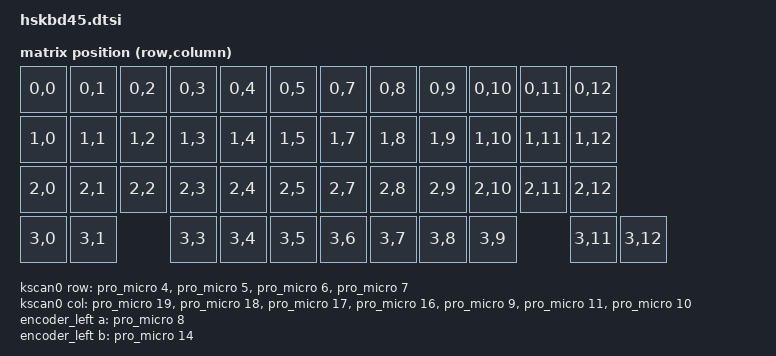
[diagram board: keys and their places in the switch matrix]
/*
 * HSKBD45 common shield configuration
 * Matrix: 4 rows x 7 cols (per half)
 * Diode direction: COL2ROW
 * Serial (TRRS): D0
 */

#include <dt-bindings/zmk/matrix_transform.h>

/ {
    chosen {
        zmk,kscan = &kscan0;
        zmk,matrix-transform = &default_transform;
    };

    /* 左半分のみ transform（右は col-offset で上書き） */
    default_transform: keymap_transform_0 {
        compatible = "zmk,matrix-transform";
        columns = <14>;
        rows = <4>;

        /*
         * レイアウト（左6列 + 右6列 = 12キー/行、最終行は親指キー）
         * QMK keyboard.json の layout に合わせた配置
         *
         * Left:  col 0-5  (matrix col 0-5)
         * Right: col 6-11 (matrix col 7-12 → offset 7)
         *
         * Row0: L[0,0] L[0,1] L[0,2] L[0,3] L[0,4] L[0,5]   R[4,0] R[4,1] R[4,2] R[4,3] R[4,4] R[4,5]
         * Row1: L[1,0] L[1,1] L[1,2] L[1,3] L[1,4] L[1,5]   R[5,0] R[5,1] R[5,2] R[5,3] R[5,4] R[5,5]
         * Row2: L[2,0] L[2,1] L[2,2] L[2,3] L[2,4] L[2,5]   R[6,0] R[6,1] R[6,2] R[6,3] R[6,4] R[6,5]
         * Row3: L[3,0] L[3,1] L[3,3] L[3,4] L[3,5] L[3,6]   R[7,0] R[7,1] R[7,2] R[7,4] R[7,5]
         *
         * ※ QMK では Row3 に col2 が欠け（エンコーダー位置）、右Row3 に col3 が欠け
         */
        map = <
            RC(0,0) RC(0,1) RC(0,2) RC(0,3) RC(0,4) RC(0,5)    RC(0,7) RC(0,8) RC(0,9) RC(0,10) RC(0,11) RC(0,12)
            RC(1,0) RC(1,1) RC(1,2) RC(1,3) RC(1,4) RC(1,5)    RC(1,7) RC(1,8) RC(1,9) RC(1,10) RC(1,11) RC(1,12)
            RC(2,0) RC(2,1) RC(2,2) RC(2,3) RC(2,4) RC(2,5)    RC(2,7) RC(2,8) RC(2,9) RC(2,10) RC(2,11) RC(2,12)
            RC(3,0) RC(3,1)         RC(3,3) RC(3,4) RC(3,5) RC(3,6)    RC(3,7) RC(3,8) RC(3,9)          RC(3,11) RC(3,12)
        >;
    };

    kscan0: kscan {
        compatible = "zmk,kscan-gpio-matrix";
        diode-direction = "col2row";

        col-gpios
            = <&pro_micro 19 GPIO_ACTIVE_HIGH>  /* F4 */
            , <&pro_micro 18 GPIO_ACTIVE_HIGH>  /* F5 */
            , <&pro_micro 17 GPIO_ACTIVE_HIGH>  /* F6 */
            , <&pro_micro 16 GPIO_ACTIVE_HIGH>  /* F7 */
            , <&pro_micro 9  GPIO_ACTIVE_HIGH>  /* B1 */
            , <&pro_micro 11 GPIO_ACTIVE_HIGH>  /* B3 */
            , <&pro_micro 10 GPIO_ACTIVE_HIGH>  /* B2 */
            ;

        row-gpios
            = <&pro_micro 4  (GPIO_ACTIVE_HIGH | GPIO_PULL_DOWN)>  /* D4 */
            , <&pro_micro 5  (GPIO_ACTIVE_HIGH | GPIO_PULL_DOWN)>  /* C6 */
            , <&pro_micro 6  (GPIO_ACTIVE_HIGH | GPIO_PULL_DOWN)>  /* D7 */
            , <&pro_micro 7  (GPIO_ACTIVE_HIGH | GPIO_PULL_DOWN)>  /* E6 */
            ;
    };

    /* エンコーダー定義（左右共通ピン B5, B4） */
    encoder_left: encoder_left {
        compatible = "alps,ec11";
        a-gpios = <&pro_micro 8 (GPIO_ACTIVE_HIGH | GPIO_PULL_UP)>;  /* B4 */
        b-gpios = <&pro_micro 14 (GPIO_ACTIVE_HIGH | GPIO_PULL_UP)>; /* B5 */
        steps = <80>;
        status = "disabled";
    };

    sensors: sensors {
        compatible = "zmk,keymap-sensors";
        sensors = <&encoder_left>;
        triggers-per-rotation = <20>;
    };
};
